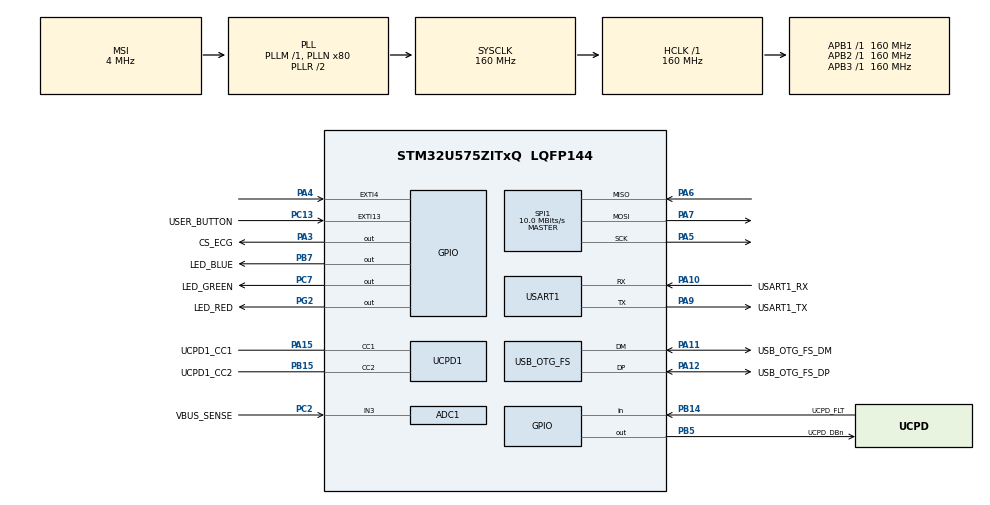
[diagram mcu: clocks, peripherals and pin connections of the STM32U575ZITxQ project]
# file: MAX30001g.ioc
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ADC1.NbrOfConversion=1
ADC1.Resolution=ADC_RESOLUTION_14B
ADC1.master=1
CORTEX_M33_NS.userName=CORTEX_M33
Mcu.Family=STM32U5
Mcu.Name=STM32U575ZITxQ
Mcu.Package=LQFP144
NVIC.EXTI13_IRQn=true\:0\:0\:false\:false\:true\:true\:true\:true
NVIC.EXTI4_IRQn=true\:0\:0\:false\:false\:true\:true\:true\:true
NVIC.OTG_FS_IRQn=true\:0\:0\:false\:false\:true\:true\:true\:true
NVIC.PriorityGroup=NVIC_PRIORITYGROUP_3
PA10.GPIO_Label=USART1_RX
PA10.GPIO_PuPd=GPIO_PULLDOWN
PA10.GPIO_Speed=GPIO_SPEED_FREQ_VERY_HIGH
PA10.Mode=Asynchronous
PA10.Signal=USART1_RX
PA11.GPIO_Label=USB_OTG_FS_DM
PA11.GPIO_Speed=GPIO_SPEED_FREQ_VERY_HIGH
PA11.Mode=Device_Only
PA11.Signal=USB_OTG_FS_DM
PA12.GPIO_Label=USB_OTG_FS_DP
PA12.GPIO_Speed=GPIO_SPEED_FREQ_VERY_HIGH
PA12.Mode=Device_Only
PA12.Signal=USB_OTG_FS_DP
PA13\ (JTMS/SWDIO).Mode=Trace_Asynchronous_SW
PA13\ (JTMS/SWDIO).Signal=DEBUG_JTMS-SWDIO
PA14\ (JTCK/SWCLK).Mode=Trace_Asynchronous_SW
PA14\ (JTCK/SWCLK).Signal=DEBUG_JTCK-SWCLK
PA15\ (JTDI).GPIO_Label=UCPD1_CC1
PA15\ (JTDI).Mode=Sink_AllSignals
PA15\ (JTDI).Signal=UCPD1_CC1
PA3.GPIO_Label=CS_ECG
PA3.GPIO_PuPd=GPIO_PULLUP
PA3.Signal=GPIO_Output
PA4.GPIO_ModeDefaultEXTI=GPIO_MODE_IT_FALLING
PA4.Signal=GPXTI4
PA5.GPIO_Speed=GPIO_SPEED_FREQ_VERY_HIGH
PA5.Mode=Full_Duplex_Master
PA5.Signal=SPI1_SCK
PA6.GPIO_Speed=GPIO_SPEED_FREQ_HIGH
PA6.Mode=Full_Duplex_Master
PA6.Signal=SPI1_MISO
PA7.GPIO_Speed=GPIO_SPEED_FREQ_HIGH
PA7.Mode=Full_Duplex_Master
PA7.Signal=SPI1_MOSI
PA9.GPIO_Label=USART1_TX
PA9.GPIO_PuPd=GPIO_PULLDOWN
PA9.GPIO_Speed=GPIO_SPEED_FREQ_VERY_HIGH
PA9.Mode=Asynchronous
PA9.Signal=USART1_TX
PB14.GPIO_Label=UCPD_FLT
PB14.Signal=GPIO_Input
PB15.GPIO_Label=UCPD1_CC2
PB15.Mode=Sink_AllSignals
PB15.Signal=UCPD1_CC2
PB3\ (JTDO/TRACESWO).Mode=Trace_Asynchronous_SW
PB3\ (JTDO/TRACESWO).Signal=DEBUG_JTDO-SWO
PB5.GPIO_Label=UCPD_DBn
PB5.Signal=GPIO_Output
PB7.GPIO_Label=LED_BLUE
PB7.GPIO_ModeDefaultOutputPP=GPIO_MODE_OUTPUT_PP
PB7.GPIO_PuPd=GPIO_PULLUP
PB7.GPIO_Speed=GPIO_SPEED_FREQ_HIGH
PB7.Signal=GPIO_Output
PC13.GPIO_Label=USER_BUTTON
PC13.GPIO_ModeDefaultEXTI=GPIO_MODE_IT_FALLING
PC13.Signal=GPXTI13
PC14-OSC32_IN\ (PC14).Mode=LSE-External-Oscillator
PC14-OSC32_IN\ (PC14).Signal=RCC_OSC32_IN
PC15-OSC32_OUT\ (PC15).Mode=LSE-External-Oscillator
PC15-OSC32_OUT\ (PC15).Signal=RCC_OSC32_OUT
PC2.GPIO_Label=VBUS_SENSE
PC2.Mode=IN3-Single-Ended
PC2.Signal=ADC1_IN3
PC7.GPIO_Label=LED_GREEN
PC7.GPIO_PuPd=GPIO_PULLUP
PC7.GPIO_Speed=GPIO_SPEED_FREQ_HIGH
PC7.Signal=GPIO_Output
PG2.GPIO_Label=LED_RED
PG2.GPIO_ModeDefaultOutputPP=GPIO_MODE_OUTPUT_PP
PG2.GPIO_PuPd=GPIO_PULLUP
PG2.GPIO_Speed=GPIO_SPEED_FREQ_HIGH
PG2.Signal=GPIO_Output
PWR.PowerMode=PWR_SMPS_SUPPLY
ProjectManager.HeapSize=0x200
ProjectManager.StackSize=0x400
ProjectManager.TargetToolchain=STM32CubeIDE
RCC.ADCFreq_Value=16000000
RCC.AHBFreq_Value=160000000
RCC.APB1Freq_Value=160000000
RCC.APB1TimFreq_Value=160000000
RCC.APB2Freq_Value=160000000
RCC.APB2TimFreq_Value=160000000
RCC.APB3Freq_Value=160000000
RCC.CortexFreq_Value=160000000
RCC.DACCLockSelectionVirtual=RCC_DAC1CLKSOURCE_LSI
RCC.EPOD_VALUE=4000000
RCC.HCLKFreq_Value=160000000
RCC.HSE_VALUE=16000000
RCC.HSI48_VALUE=48000000
RCC.HSI_VALUE=16000000
RCC.LSIDIV_VALUE=32000
RCC.MSI_VALUE=4000000
RCC.PLLN=80
RCC.SYSCLKFreq_VALUE=160000000
RCC.SYSCLKSource=RCC_SYSCLKSOURCE_PLLCLK
RCC.USBFreq_Value=48000000
RCC.VCOOutputFreq_Value=320000000
SPI1.BaudRatePrescaler=SPI_BAUDRATEPRESCALER_16
SPI1.CalculateBaudRate=10.0 MBits/s
SPI1.DataSize=SPI_DATASIZE_8BIT
SPI1.Direction=SPI_DIRECTION_2LINES
SPI1.Mode=SPI_MODE_MASTER
SPI1.VirtualType=VM_MASTER
USART1.VirtualMode-Asynchronous=VM_ASYNC
USB_OTG_FS.VirtualMode=Device_Only
VP_LPBAMQUEUE_VS_QUEUE.Mode=QUEUEMODE
VP_LPBAM_VS_SIG1.Mode=SmartRun
VP_LPBAM_VS_SIG4.Mode=LPDMA1
VP_PWR_VS_DBSignals.Mode=DisableDeadBatterySignals
VP_PWR_VS_LPOM.Mode=PowerOptimisation
VP_PWR_VS_SECSignals.Mode=Security/Privilege
board=NUCLEO-U575ZI-Q

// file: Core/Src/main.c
/* USER CODE BEGIN Header */
/**
  ******************************************************************************
  * @file           : main.c
  * @brief          : Main program body
  ******************************************************************************
  * @attention
  *
  * Copyright (c) 2023 STMicroelectronics.
  * All rights reserved.
  *
  * This software is licensed under terms that can be found in the LICENSE file
  * in the root directory of this software component.
  * If no LICENSE file comes with this software, it is provided AS-IS.
  *
  ******************************************************************************
  */
/* USER CODE END Header */
#include "main.h"
#include "adc.h"
#include "spi.h"
#include "ucpd.h"
#include "usart.h"
#include "usb_otg.h"
#include "gpio.h"

/* USER CODE BEGIN Includes */
#include "max30003.h"
#include "arm_math.h"
#include "arm_const_structs.h"
/* USER CODE END Includes */

/* USER CODE BEGIN PD */

const int EINT_STATUS_MASK =  1 << 23;
const int BINT_STATUS_MASK = 0x080000;
const int RRINT_STATUS_MASK = 0x000400;
const int FIFO_OVF_MASK =  0x7;
const int FIFO_VALID_SAMPLE_MASK =  0x0;
const int FIFO_FAST_SAMPLE_MASK =  0x1;
const int FIFO_RANGE_SAMPLE_MASK = 0x1;
const int ETAG_BITS_MASK = 0x7;
const int BTAG_BITS_MASK = 0x7;

#define NUM_STAGES_2ORDER 1 // Number of biquad stages
#define NUM_STAGES_4ORDER 2 // Number of biquad stages (for a 4th order filter)
#define BLOCK_SIZE 1// Number of samples to process at a time
#define SAMPLE_RATE 32
#define PAST_SAMPLE_BUFFER (SAMPLE_RATE * 3) //sample rate * n, n decides the second in samples to look back at

/* USER CODE END PD */

/* USER CODE BEGIN PV */
uint32_t ecgFIFO, readECGSamples, idx, ETAG[32], status;
uint32_t biozFIFO, readBIOZSamples, BTAG[8];
int32_t ecgSample[32], biozSample[8];
int ecgFIFOIntFlag;
uint32_t rtor_interval_int;
float rtor_interval;

float32_t phasicCoeffs[NUM_STAGES_2ORDER*5] = {
    // Stage 1

		0.998266003962435,	-1.99653200792487,	0.998266003962435,	1.99652900118035,	-0.996535014669388
};
float32_t tonicCoeffs[NUM_STAGES_2ORDER*5] = {
    // Stage 1
		6.00307975164863e-06,	1.20061595032973e-05,	6.00307975164863e-06,	1.99305802314321,	-0.993082035462212
};
float32_t filteredCoeffs[NUM_STAGES_2ORDER*5] = {
    // Stage 1
		0.00490303497078511,	0.00980606994157022	,0.00490303497078511,	1.79238563711149,	-0.811997776994632
};
/* State buffer for the biquad filter */

static float32_t phasicState[NUM_STAGES_2ORDER*2];
static float32_t tonicState[NUM_STAGES_2ORDER*2];
static float32_t filteredState[NUM_STAGES_2ORDER*2];

static arm_biquad_cascade_df2T_instance_f32 S_phasic;
static arm_biquad_cascade_df2T_instance_f32 S_tonic;
static arm_biquad_cascade_df2T_instance_f32 S_filtered;

float32_t outputphasic[BLOCK_SIZE];
float32_t outputtonic[BLOCK_SIZE];
float32_t outputfiltered[BLOCK_SIZE];

float32_t outputphasicMiddle[BLOCK_SIZE];
float32_t outputtonicMiddle[BLOCK_SIZE];
float32_t outputfilteredMiddle[BLOCK_SIZE];

uint32_t n_sample = 0;
float32_t conductanceSample[BLOCK_SIZE];
float32_t reverseSample[BLOCK_SIZE];
uint32_t skip_sample = 0;

float32_t phasic_window[PAST_SAMPLE_BUFFER];

static  float32_t previous_1 = 0;
static  float32_t previous_2 = 0;
uint8_t valid_peak = 0;
float32_t peak[BLOCK_SIZE];
float32_t onset[BLOCK_SIZE];

uint8_t SCR_rise_sample = 0;
float32_t SCR_rise_time = 0;
float32_t mean_risetime = 0;
float32_t old_mean_risetime = 0;
static uint32_t count_mean_risetime= 0;
float32_t std_dev_risetime = 0;

float32_t mean_tonic = 0;
static uint32_t count_mean_tonic = 0;
static uint16_t settling_samples_tonic = 0;

float32_t max_tonic = 0;
float32_t max_phasic = 0;

/* USER CODE END PV */

void SystemClock_Config(void);
static void SystemPower_Config(void);

/* USER CODE BEGIN 0 */
int _write(int file, char *ptr, int len){
	HAL_UART_Transmit(&huart1, (uint8_t*)ptr, len, HAL_MAX_DELAY);
	return len;
}

void Falling_callback(){
	ecgFIFOIntFlag = 1;
}

void Printing(){

}

void StdDev_RiseTime(float32_t time){
	count_mean_risetime++;
	mean_risetime = mean_risetime + (time-mean_risetime)/count_mean_risetime;
	std_dev_risetime = std_dev_risetime + (time - mean_risetime) * (time - old_mean_risetime);
	old_mean_risetime = mean_risetime;

//	printf("BIOZ_STD_RISETIME:%.20f,", std_dev_risetime);
}

void Local_Peak_and_Onset(float32_t signal,float32_t *peak, float32_t *onset) {
	SCR_rise_time = 0;
	if(valid_peak > 0){
	    		valid_peak--;
	    	}

    if (previous_1 > previous_2 && previous_1 > signal) {
    	previous_2 = previous_1;
    	previous_1 = signal;

    	float32_t lowest_point = phasic_window[1];
    	SCR_rise_sample = 1;
		for (uint8_t i = 1; i < PAST_SAMPLE_BUFFER-valid_peak; i++) {
			if (phasic_window[i] < lowest_point) {
				SCR_rise_sample = i;
				lowest_point = phasic_window[i];
			}
		}
		if (previous_2 - lowest_point > 4e-7){
			*onset = lowest_point;
			*peak = previous_2;
			valid_peak = PAST_SAMPLE_BUFFER - 1;
			SCR_rise_time = SCR_rise_sample;
			StdDev_RiseTime(SCR_rise_time);
		}
		else{
			*onset = 0;
			*peak = 0;

		}
    }
    else{
    	previous_2 = previous_1;
		previous_1 = signal;

		*onset = 0;
		*peak = 0;
    }
}

void Phasic_window(float32_t phasic){

	for (uint8_t i = PAST_SAMPLE_BUFFER; i > 0; i--) {
	        phasic_window[i - 1] = phasic_window[ i - 2];
	    }

	phasic_window[0] = phasic;

}

void Mean_Tonic(float32_t tonic){

	if(settling_samples_tonic > 32*10){
		count_mean_tonic++;
		mean_tonic = mean_tonic + (tonic-mean_tonic)/count_mean_tonic;
	}
	else{
		settling_samples_tonic++;
	}
}

void Max_Signal(float32_t signal, float32_t* max){
	if (*max < signal){
		*max = signal;
	}
}

void flip(float32_t Array[], uint32_t dimArray){
	uint32_t nforward=0;
	uint32_t nbackward=dimArray-1;
	float32_t temp;
	 while(nforward<nbackward){
	      //swap
	      temp = Array[nforward];
	      Array[nforward] = Array[nbackward];
	      Array[nbackward] = temp;

	      nforward++;
	      nbackward--;
	    }
}

void filtfilt(const arm_biquad_cascade_df2T_instance_f32 * S,
  float32_t * pInput,
  float32_t * pMiddle,
  float32_t * pOutput,
  uint32_t blockSize)
{
	arm_biquad_cascade_df2T_f32(S, pInput, pMiddle, blockSize);

	flip(pMiddle, blockSize);

	arm_biquad_cascade_df2T_f32(S, pMiddle, pOutput, blockSize);

	flip(pOutput, blockSize);

}

/* USER CODE END 0 */

int main(void)
{

  /* MCU Configuration--------------------------------------------------------*/

  /* Reset of all peripherals, Initializes the Flash interface and the Systick. */
  HAL_Init();

  /* Configure the system clock */
  SystemClock_Config();

  /* Configure the System Power */
  SystemPower_Config();

  /* Initialize all configured peripherals */
  MX_GPIO_Init();
  MX_ADC1_Init();
  MX_UCPD1_Init();
  MX_USART1_UART_Init();
  MX_USB_OTG_FS_PCD_Init();
  MX_SPI1_Init();
  /* USER CODE BEGIN 2 */

  LL_SPI_Enable(SPI1);
  LL_SPI_StartMasterTransfer(SPI1);
  max30003Begin();
  //max30003Config();
  //max30003BeginRtorMode(); 	//Configures and enable ECG/RTOR
  //max30001gBeginBIOZ(); 		//Configures and enable BIOZ

  max30001gBeginBothMode4Electrode();
//  max30003ReadInfo();
//  max30003Printconf();

  arm_biquad_cascade_df2T_init_f32(&S_phasic, NUM_STAGES_2ORDER, phasicCoeffs, phasicState);
  arm_biquad_cascade_df2T_init_f32(&S_tonic, NUM_STAGES_2ORDER, tonicCoeffs, tonicState);
  arm_biquad_cascade_df2T_init_f32(&S_filtered, NUM_STAGES_2ORDER, filteredCoeffs, filteredState);
  uint8_t buffer_in[4];

  /* USER CODE END 2 */

  /* Infinite loop */
  while (1)
  {

    /* USER CODE BEGIN 3 */
	  if( ecgFIFOIntFlag ) {

	  		  ecgFIFOIntFlag = 0;
	  		  DATA_Read(buffer_in, STATUS, 3);
	  		  status = buff8_to_int32(buffer_in);
	  		  // Check if EINT interrupt asserted

	  		  if (( status & EINT_STATUS_MASK) == EINT_STATUS_MASK) {
	  			  readECGSamples = 0;                        					 // Reset sample counter

	  			  do {

	  				  DATA_Read(buffer_in, ECG_FIFO, 3);
	  				  ecgFIFO = buff8_to_int32(buffer_in);  					 // Read FIFO
	  				  ecgSample[readECGSamples] = (ecgFIFO >> 6);                // Isolate voltage data
	  				  ecgSample[readECGSamples] = CorrectSign(ecgSample[readECGSamples], 18);
	  				  ETAG[readECGSamples] = ( ecgFIFO >> 3 ) & ETAG_BITS_MASK;  // Isolate ETAG
	  				  readECGSamples++;                                          // Increment sample counter

	  				  // Check that sample is not last sample in FIFO
	  			  } while ( ETAG[readECGSamples-1] == FIFO_VALID_SAMPLE_MASK ||
	  					  ETAG[readECGSamples-1] == FIFO_FAST_SAMPLE_MASK );

	  			  // Check if FIFO has overflowed
	  			  if( ETAG[readECGSamples - 1] == FIFO_OVF_MASK ){
	  				  //printf("OVERFLOW");
	  				  DATA_Write(FIFO_RST,3, 0x000000);   // Reset FIFO
	  				  //rLed = 1;//notifies the user that an over flow occured
	  			  }

	  			  // Print results
	  			  for( idx = 0; idx < readECGSamples; idx++ ) {
	  				  //printf("ECG:%ld,", ecgSample[idx]);

	  			  }
	  		  }
	  		  if((status & RRINT_STATUS_MASK ) == RRINT_STATUS_MASK ){

	  			  DATA_Read(buffer_in, RTOR, 3);
	  			  rtor_interval_int = buff8_to_int32(buffer_in);
	  			  rtor_interval_int = (rtor_interval_int >> 10);
	  			  rtor_interval = rtor_interval_int * 0.008;
	  			  //printf("RTOR:%f,", rtor_interval);
	  		  }

	  		  if (( status & BINT_STATUS_MASK) == BINT_STATUS_MASK) {
	  			  			  readBIOZSamples = 0;                        					// Reset sample counter

				  do {
					  DATA_Read(buffer_in, BIOZ_FIFO, 3);
					  biozFIFO = buff8_to_int32(buffer_in);  					  // Read FIFO
					  biozSample[readBIOZSamples] = biozFIFO >> 4;                // Isolate voltage data
					  biozSample[readBIOZSamples] = CorrectSign(biozSample[readBIOZSamples], 20);
					  BTAG[readBIOZSamples] = (biozFIFO) & BTAG_BITS_MASK;        // Isolate BTAG
					  readBIOZSamples++;                                          // Increment sample counter
					  // Check that sample is not last sample in FIFO
				  } while ( BTAG[readBIOZSamples-1] == FIFO_VALID_SAMPLE_MASK ||
						  BTAG[readBIOZSamples-1] == FIFO_RANGE_SAMPLE_MASK );

				  // Check if FIFO has overflowed
				  if( BTAG[readBIOZSamples - 1] == FIFO_OVF_MASK ){
					  //printf("OVERFLOW");
					  DATA_Write(FIFO_RST,3, 0x000000);   // Reset FIFO

					  //rLed = 1;//notifies the user that an over flow occured
				  }

				  // Print results
				  for( idx = 0; idx < readBIOZSamples; idx++ ) {
					  if (skip_sample > 63){
						  conductanceSample[n_sample] = ((pow(2, 19) * 10 * 110 * pow(10, -9))) / biozSample[idx];
						  HAL_UART_Transmit(&huart1, (uint8_t*)&conductanceSample[n_sample], 4, HAL_MAX_DELAY);
						  HAL_UART_Transmit(&huart1, (uint8_t*)&outputfiltered[n_sample], 4, HAL_MAX_DELAY);
						  HAL_UART_Transmit(&huart1, (uint8_t*)&outputtonic[n_sample], 4, HAL_MAX_DELAY);
						  HAL_UART_Transmit(&huart1, (uint8_t*)&outputphasic[n_sample], 4, HAL_MAX_DELAY);
						  HAL_UART_Transmit(&huart1, (uint8_t*)&peak[n_sample], 4, HAL_MAX_DELAY);
						  Phasic_window(outputphasic[n_sample]);
						  Local_Peak_and_Onset(outputphasic[n_sample], &peak[n_sample], &onset[n_sample]);
						  Mean_Tonic(outputtonic[n_sample]);
						  Max_Signal(outputtonic[n_sample], &max_tonic);
						  Max_Signal(outputphasic[n_sample], &max_phasic);

						  if (n_sample == BLOCK_SIZE - 1){

//							  arm_biquad_cascade_df2T_f32(&S_filtered, conductanceSample, outputfiltered, BLOCK_SIZE);
							  arm_biquad_cascade_df2T_f32(&S_filtered, conductanceSample, outputfiltered, BLOCK_SIZE);
							  arm_biquad_cascade_df2T_f32(&S_phasic, outputfiltered, outputphasic, BLOCK_SIZE);
							  filtfilt(&S_tonic, conductanceSample, outputtonicMiddle, outputtonic, BLOCK_SIZE);

//							  for (uint8_t i = 0; i < BLOCK_SIZE; i++) {
//								  Phasic_window(outputphasic[i]);
//								  Local_Peak_and_Onset(outputphasic[i], &peak[i], &onset[i]);
//								  Mean_Tonic(outputtonic[i]);
//								  Max_Signal(outputtonic[i], &max_tonic);
//								  Max_Signal(outputphasic[i], &max_phasic);
//								  printf("BIOZ:%.14f,", conductanceSample[i]);
//								  printf("BIOZ_FILTERED:%.4f,", outputfiltered[i]);
//								  printf("BIOZ_TONIC:%.14f,", outputtonic[i]);
//								  printf("BIOZ_PHASIC:%.14f,", outputphasic[i]);
//								  printf("BIOZ_PEAK:%.14f,", peak[i]);
//								  printf("BIOZ_ONSET:%.14f,", onset[i]);
//								  printf("BIOZ_SCR_RISE_TIME:%.4f,", SCR_rise_time);
//								  printf("BIOZ_TONIC_MEAN:%.14f,", mean_tonic);

//							  }
							  n_sample = 0;
						  }
						  else{
							  n_sample++;
						  }

					  }
					  else{
						  skip_sample++;
					  }

//					  HAL_UART_Transmit(&huart1, (uint8_t*)&filteredBiozSample, 4, HAL_MAX_DELAY);
//					  HAL_UART_Transmit(&huart1, (uint8_t*)&biozSample[idx], 4, HAL_MAX_DELAY);

				  }
//				  DATA_Read(buffer_in, BIOZ_FIFO, 3);
//				  biozFIFO = buff8_to_int32(buffer_in);  					  // Read FIFO
//				  biozSample[0] = biozFIFO >> 4;                // Isolate voltage data
//				  biozSample[0] = CorrectSign(biozSample[0], 20);
//				  BTAG[0] = (biozFIFO) & BTAG_BITS_MASK;        // Isolate BTAG
//
//				  if( BTAG[0] == FIFO_OVF_MASK ){
//					  //printf("OVERFLOW");
//					  DATA_Write(FIFO_RST,3, 0x000000);   // Reset FIFO
//
//					  //rLed = 1;//notifies the user that an over flow occured
//				  }
//				  else{
//					  HAL_UART_Transmit(&huart1, (uint8_t*)&biozSample[0], 4, HAL_MAX_DELAY);
//				  }
	  		}
	  }
  }
  /* USER CODE END 3 */
}

void SystemClock_Config(void)
{
  RCC_OscInitTypeDef RCC_OscInitStruct = {0};
  RCC_ClkInitTypeDef RCC_ClkInitStruct = {0};

  /** Configure the main internal regulator output voltage
  */
  if (HAL_PWREx_ControlVoltageScaling(PWR_REGULATOR_VOLTAGE_SCALE1) != HAL_OK)
  {
    Error_Handler();
  }

  /** Initializes the CPU, AHB and APB buses clocks
  */
  RCC_OscInitStruct.OscillatorType = RCC_OSCILLATORTYPE_HSI48|RCC_OSCILLATORTYPE_HSI
                              |RCC_OSCILLATORTYPE_MSI;
  RCC_OscInitStruct.HSIState = RCC_HSI_ON;
  RCC_OscInitStruct.HSI48State = RCC_HSI48_ON;
  RCC_OscInitStruct.HSICalibrationValue = RCC_HSICALIBRATION_DEFAULT;
  RCC_OscInitStruct.MSIState = RCC_MSI_ON;
  RCC_OscInitStruct.MSICalibrationValue = RCC_MSICALIBRATION_DEFAULT;
  RCC_OscInitStruct.MSIClockRange = RCC_MSIRANGE_4;
  RCC_OscInitStruct.PLL.PLLState = RCC_PLL_ON;
  RCC_OscInitStruct.PLL.PLLSource = RCC_PLLSOURCE_MSI;
  RCC_OscInitStruct.PLL.PLLMBOOST = RCC_PLLMBOOST_DIV1;
  RCC_OscInitStruct.PLL.PLLM = 1;
  RCC_OscInitStruct.PLL.PLLN = 80;
  RCC_OscInitStruct.PLL.PLLP = 2;
  RCC_OscInitStruct.PLL.PLLQ = 2;
  RCC_OscInitStruct.PLL.PLLR = 2;
  RCC_OscInitStruct.PLL.PLLRGE = RCC_PLLVCIRANGE_0;
  RCC_OscInitStruct.PLL.PLLFRACN = 0;
  if (HAL_RCC_OscConfig(&RCC_OscInitStruct) != HAL_OK)
  {
    Error_Handler();
  }

  /** Initializes the CPU, AHB and APB buses clocks
  */
  RCC_ClkInitStruct.ClockType = RCC_CLOCKTYPE_HCLK|RCC_CLOCKTYPE_SYSCLK
                              |RCC_CLOCKTYPE_PCLK1|RCC_CLOCKTYPE_PCLK2
                              |RCC_CLOCKTYPE_PCLK3;
  RCC_ClkInitStruct.SYSCLKSource = RCC_SYSCLKSOURCE_PLLCLK;
  RCC_ClkInitStruct.AHBCLKDivider = RCC_SYSCLK_DIV1;
  RCC_ClkInitStruct.APB1CLKDivider = RCC_HCLK_DIV1;
  RCC_ClkInitStruct.APB2CLKDivider = RCC_HCLK_DIV1;
  RCC_ClkInitStruct.APB3CLKDivider = RCC_HCLK_DIV1;

  if (HAL_RCC_ClockConfig(&RCC_ClkInitStruct, FLASH_LATENCY_4) != HAL_OK)
  {
    Error_Handler();
  }
}

/**
  * @brief Power Configuration
  * @retval None
  */
static void SystemPower_Config(void)
{

  /*
   * Switch to SMPS regulator instead of LDO
   */
  if (HAL_PWREx_ConfigSupply(PWR_SMPS_SUPPLY) != HAL_OK)
  {
    Error_Handler();
  }
}

void Error_Handler(void)
{
  __disable_irq();
  while (1)
  {
  }
}
